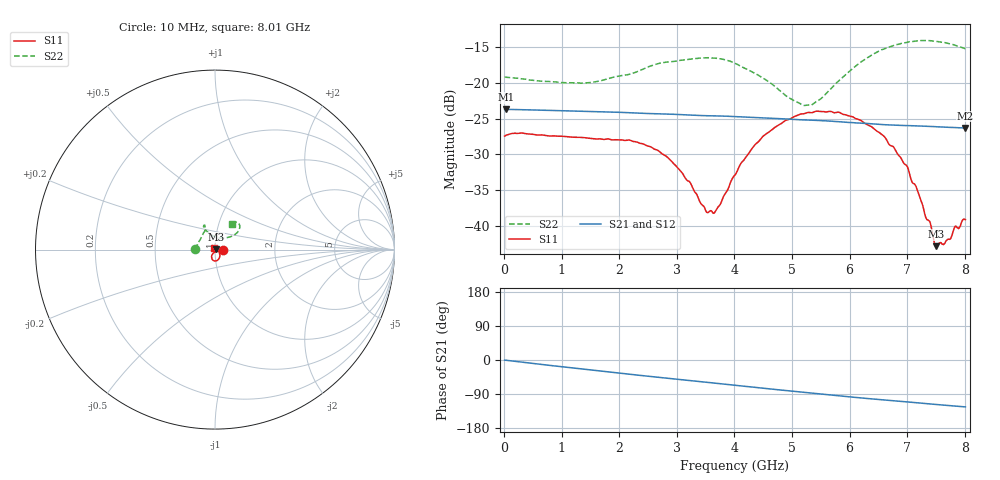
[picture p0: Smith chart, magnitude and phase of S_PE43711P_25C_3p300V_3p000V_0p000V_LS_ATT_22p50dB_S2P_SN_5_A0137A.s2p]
! Device ID: PE43711P
! File Path: z:\PE43711P\CHAR_NOM_04282014\AMB\3p300\LS_ATT_22p50dB\PE43711P_AMB_3p300V_3p000V_0p000V_LS_ATT_22p50dB_S2P_SN_5_A0137A.s2p
! Serial: 5
! Lot: A0137A
! Temp: 25C
! VDD: 3.300
! VSS: 0.000
! Control_Hi: 3.000
! Control_Lo: 0.000
! Attenuation Step: 22.50dB
! Port 1: RF1
! Port 2: RF2
! ThroughPath:1-2
! IDD: 0.0001276474
! ISS: -1.594e-007
#  Hz  S  RI  R  50
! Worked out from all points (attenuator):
!   801 points, 10 MHz to 8.01 GHz, reference 50 ohm
!   highest |S21| = -23.73 dB at 40 MHz (marker M1); lowest = -26.3 dB at 8.01 GHz (marker M2)
!   lowest |S11| = -42.8 dB at 7.5 GHz (marker M3), VSWR 1.01, Z = 50.6 + j0.419 ohm
!   |S11| at or under -10 dB: start of sweep to end of sweep
!   |S22| runs from -23.2 to -14.1 dB; largest |S21 - S12| = 0.00013
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1e7  0.0424 0.000287  0.0651 -0.000279  0.0652 -0.000272  -0.1097 0.000903
4e7  0.0431 0.000359  0.0651 -0.00086  0.0652 -0.000868  -0.109 0.00249
1.35e9  0.0403 -0.00994  0.058 -0.0254  0.0581 -0.0254  -0.0831 0.0542
2.18e9  0.0384 -0.0105  0.0489 -0.0377  0.0489 -0.0377  -0.0604 0.0974
2.68e9  0.0326 -0.00802  0.0425 -0.0433  0.0425 -0.0433  -0.0557 0.1242
3.07e9  0.023 -0.00724  0.0369 -0.0472  0.037 -0.0472  -0.0558 0.132
3.54e9  0.00631 -0.0107  0.0301 -0.0505  0.0302 -0.0505  -0.0606 0.1364
3.68e9  0.00109 -0.0129  0.0281 -0.0514  0.0281 -0.0514  -0.0622 0.1343
4.01e9  -0.00991 -0.0205  0.023 -0.0533  0.0229 -0.0533  -0.0624 0.1213
4.32e9  -0.0174 -0.0309  0.0181 -0.0544  0.0181 -0.0544  -0.051 0.1064
4.52e9  -0.0189 -0.0387  0.0149 -0.0549  0.0149 -0.055  -0.041 0.0982
5.04e9  -0.0142 -0.0563  0.00695 -0.055  0.00692 -0.055  -0.00355 0.0746
5.35e9  -0.0057 -0.0616  0.00246 -0.0547  0.00247 -0.0548  0.0266 0.0651
6.05e9  0.0189 -0.0548  -0.00731 -0.0522  -0.00738 -0.0522  0.0991 0.0766
6.4e9  0.026 -0.0411  -0.0116 -0.0504  -0.0116 -0.0504  0.1249 0.0955
6.68e9  0.0263 -0.0265  -0.0144 -0.0488  -0.0144 -0.0488  0.1352 0.1143
7e9  0.0228 -0.0126  -0.0176 -0.047  -0.0176 -0.0471  0.138 0.1325
7.39e9  0.0107 0.00176  -0.0217 -0.0446  -0.0216 -0.0446  0.1262 0.1503
7.5e9  0.00596 0.00414  -0.0226 -0.0438  -0.0226 -0.0439  0.1204 0.1522
7.65e9  0.000534 0.00756  -0.024 -0.0427  -0.024 -0.0428  0.1123 0.1537
7.83e9  -0.00463 0.0088  -0.0254 -0.0415  -0.0255 -0.0415  0.1016 0.1515
8.01e9  -0.00783 0.00787  -0.0269 -0.0402  -0.027 -0.0401  0.0932 0.1447
